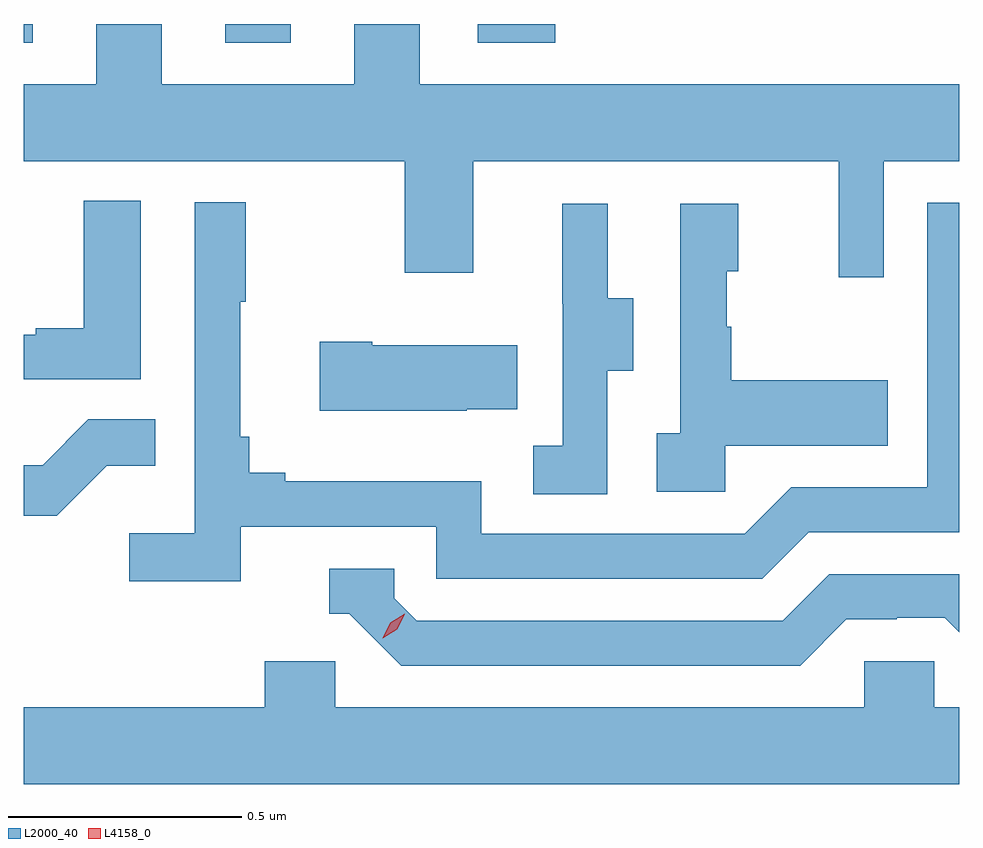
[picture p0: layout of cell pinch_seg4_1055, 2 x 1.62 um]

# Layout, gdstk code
import gdstk
lib = gdstk.Library(unit=1e-6, precision=1e-09)
def R(c, l, rs):  # rectangles x0, y0, x1, y1
    for r in rs: c.add(gdstk.rectangle(r[:2], r[2:], *l))
def P(c, l, *ps):  # polygons
    for p in ps: c.add(gdstk.Polygon(p, *l))
L2000_40 = (2000, 40)
L4158_0 = (4158, 0)

pinch_seg4_1055 = lib.new_cell('pinch_seg4_1055')
R(pinch_seg4_1055, L2000_40, [(814.584,758.445,814.603,758.485), (815.015,758.445,815.155,758.485), (815.555,758.445,815.72,758.485)])
P(pinch_seg4_1055, L2000_40, [(816.423,758.192),(816.584,758.192),(816.584,758.356),(815.431,758.356),(815.431,758.485),(815.291,758.485),(815.291,758.356),(814.879,758.356),(814.879,758.485),(814.739,758.485),(814.739,758.356),(814.584,758.356),(814.584,758.192),(815.398,758.192),(815.398,757.953),(815.545,757.953),(815.545,758.192),(816.326,758.192),(816.326,757.944),(816.423,757.944)],
  [(814.834,758.107),(814.712,758.107),(814.712,757.834),(814.609,757.834),(814.609,757.821),(814.584,757.821),(814.584,757.725),(814.834,757.725)],
  [(815.048,757.41),(815.466,757.41),(815.466,757.299),(816.163,757.299),(816.262,757.398),(816.584,757.398),(816.584,758.103),(816.516,758.103),(816.516,757.494),(816.225,757.494),(816.126,757.395),(815.562,757.395),(815.562,757.507),(815.143,757.507),(815.143,757.526),(815.066,757.526),(815.066,757.603),(815.047,757.603),(815.047,757.891),(815.059,757.891),(815.059,758.104),(814.95,758.104),(814.95,757.396),(814.809,757.396),(814.809,757.294),(815.048,757.294)],
  [(815.832,757.744),(815.887,757.744),(815.887,757.899),(815.833,757.899),(815.833,758.101),(815.735,758.101),(815.735,757.887),(815.736,757.887),(815.736,757.583),(815.673,757.583),(815.673,757.48),(815.832,757.48)],
  [(816.084,757.583),(816.431,757.583),(816.431,757.723),(816.097,757.723),(816.097,757.838),(816.087,757.838),(816.087,757.956),(816.112,757.956),(816.112,758.101),(815.988,758.101),(815.988,757.61),(815.937,757.61),(815.937,757.485),(816.084,757.485)],
  [(815.531,757.661),(815.639,757.661),(815.639,757.798),(815.329,757.798),(815.329,757.806),(815.217,757.806),(815.217,757.658),(815.531,757.658)],
  [(814.761,757.541),(814.865,757.541),(814.865,757.64),(814.722,757.64),(814.624,757.542),(814.584,757.542),(814.584,757.434),(814.654,757.434)],
  [(816.343,757.212),(816.45,757.212),(816.45,757.215),(816.553,757.215),(816.584,757.184),(816.584,757.308),(816.306,757.308),(816.207,757.209),(815.424,757.209),(815.376,757.257),(815.376,757.32),(815.237,757.32),(815.237,757.224),(815.28,757.224),(815.391,757.113),(816.244,757.113)],
  [(816.381,757.122),(816.381,757.024),(815.25,757.024),(815.25,757.122),(815.099,757.122),(815.099,757.024),(814.584,757.024),(814.584,756.86),(816.584,756.86),(816.584,757.024),(816.531,757.024),(816.531,757.122)])
P(pinch_seg4_1055, L4158_0, [(815.352,757.172),(815.352,757.172),(815.368,757.205),(815.399,757.224),(815.399,757.224),(815.399,757.224),(815.383,757.191),(815.352,757.172)])

lib.write_gds('pinch_seg4_1055.gds')
